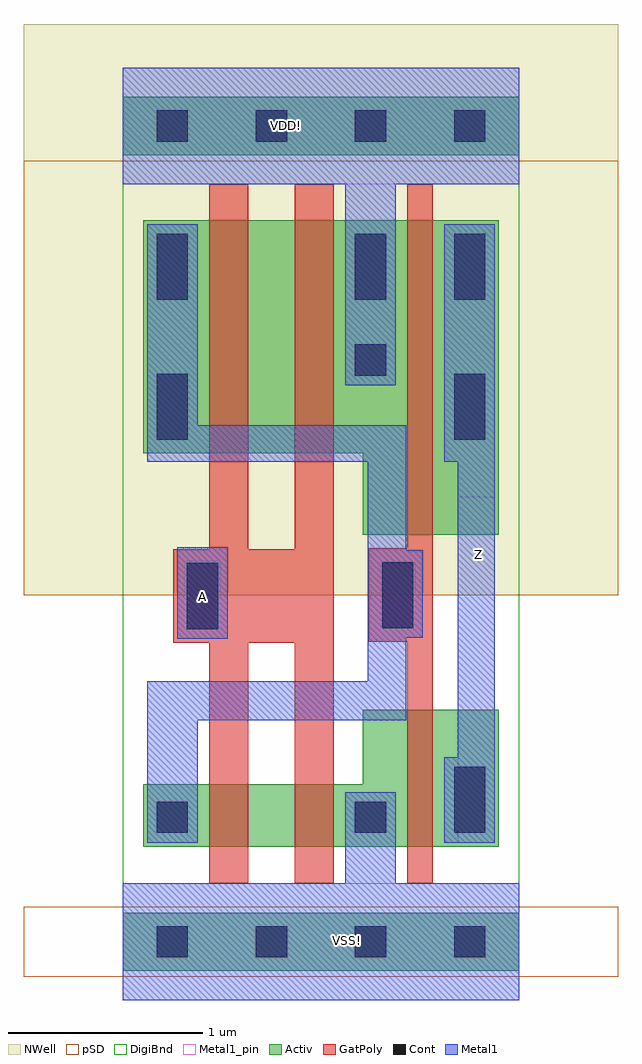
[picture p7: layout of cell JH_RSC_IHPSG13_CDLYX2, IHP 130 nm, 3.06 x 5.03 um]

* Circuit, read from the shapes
.subckt JH_RSC_IHPSG13_CDLYX2 A VDD! VSS! Z
XM1 n1 A n2 VSS! sg13_lv_nmos w=0.32u l=0.2u
XM2 VSS! A n1 VSS! sg13_lv_nmos w=0.32u l=0.2u
XM3 Z n2 VSS! VSS! sg13_lv_nmos w=0.705u l=0.13u
XM4 n3 A n2 VDD! sg13_lv_pmos w=1.2u l=0.2u
XM5 VDD! A n3 VDD! sg13_lv_pmos w=1.2u l=0.2u
XM6 Z n2 VDD! VDD! sg13_lv_pmos w=1.62u l=0.13u
.ends

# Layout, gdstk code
import gdstk
lib = gdstk.Library(unit=1e-6, precision=1e-09)
def R(c, l, rs):  # rectangles x0, y0, x1, y1
    for r in rs: c.add(gdstk.rectangle(r[:2], r[2:], *l))
def A(c, l, x, y, w, h, nx, ny, dx, dy):  # array of equal rectangles
    R(c, l, [(x+i*dx, y+j*dy, x+i*dx+w, y+j*dy+h) for i in range(nx) for j in range(ny)])
def P(c, l, *ps):  # polygons
    for p in ps: c.add(gdstk.Polygon(p, *l))
Activ = (1, 0)
GatPoly = (5, 0)
Cont = (6, 0)
Metal1 = (8, 0)
Metal1_pin = (8, 2)
pSD = (14, 0)
DigiBnd = (16, 0)
NWell = (31, 0)

jh_rsc_ihpsg13_cdlyx2 = lib.new_cell('JH_RSC_IHPSG13_CDLYX2')
R(jh_rsc_ihpsg13_cdlyx2, Activ, [(0,-0.15,2.04,0.15), (0,4.05,2.04,4.35)])
P(jh_rsc_ihpsg13_cdlyx2, Activ, [(0.105,0.49),(0.105,0.81),(1.235,0.81),(1.235,1.195),(1.935,1.195),(1.935,0.49)],
  [(1.235,2.095),(1.235,2.515),(0.105,2.515),(0.105,3.715),(1.935,3.715),(1.935,2.095)])
P(jh_rsc_ihpsg13_cdlyx2, GatPoly, [(0.445,0.3),(0.445,1.54),(0.26,1.54),(0.26,2.02),(0.445,2.02),(0.445,3.9),(0.645,3.9),(0.645,2.02),(0.885,2.02),(0.885,3.9),(1.085,3.9),(1.085,0.3),(0.885,0.3),(0.885,1.54),(0.645,1.54),(0.645,0.3)],
  [(1.465,0.3),(1.465,1.545),(1.265,1.545),(1.265,2.025),(1.465,2.025),(1.465,3.9),(1.595,3.9),(1.595,0.3)])
A(jh_rsc_ihpsg13_cdlyx2, Cont, 0.175, -0.08, 0.16, 0.16, 4, 2, 0.51, 4.2)
R(jh_rsc_ihpsg13_cdlyx2, Cont, [(0.175,0.56,0.335,0.72), (1.195,0.56,1.355,0.72), (1.705,0.56,1.865,0.9), (0.33,1.61,0.49,1.95), (1.335,1.615,1.495,1.955), (0.175,2.585,0.335,2.925), (1.705,2.585,1.865,2.925), (1.195,2.915,1.355,3.075), (0.175,3.305,0.335,3.645), (1.195,3.305,1.355,3.645), (1.705,3.305,1.865,3.645)])
R(jh_rsc_ihpsg13_cdlyx2, Metal1, [(0,-0.3,2.04,0.3), (1.145,0.3,1.405,0.77), (0.28,1.56,0.54,2.03), (1.145,2.865,1.405,3.9), (0,3.9,2.04,4.5)])
P(jh_rsc_ihpsg13_cdlyx2, Metal1, [(0.125,0.51),(0.125,1.34),(1.26,1.34),(1.26,2.47),(0.125,2.47),(0.125,3.695),(0.385,3.695),(0.385,2.66),(1.46,2.66),(1.46,2.015),(1.545,2.015),(1.545,1.565),(1.46,1.565),(1.46,1.14),(0.385,1.14),(0.385,0.51)],
  [(1.655,0.51),(1.655,0.95),(1.725,0.95),(1.725,2.47),(1.655,2.47),(1.655,3.695),(1.915,3.695),(1.915,0.51)])
R(jh_rsc_ihpsg13_cdlyx2, Metal1_pin, [(0,-0.3,2.04,0.3), (1.725,0.51,1.915,2.29), (0.28,1.56,0.54,2.03), (0,3.9,2.04,4.5)])
R(jh_rsc_ihpsg13_cdlyx2, pSD, [(-0.51,-0.18,2.55,0.18), (-0.51,1.785,2.55,4.02)])
R(jh_rsc_ihpsg13_cdlyx2, DigiBnd, [(0,-0.3,2.04,4.5)])
R(jh_rsc_ihpsg13_cdlyx2, NWell, [(-0.51,1.785,2.55,4.725)])
jh_rsc_ihpsg13_cdlyx2.add(gdstk.Label('A', (0.41,1.78), layer=8, texttype=2))
jh_rsc_ihpsg13_cdlyx2.add(gdstk.Label('Z', (1.83,1.995), layer=8, texttype=2))
jh_rsc_ihpsg13_cdlyx2.add(gdstk.Label('VDD!', (0.84,4.2), layer=8, texttype=2))
jh_rsc_ihpsg13_cdlyx2.add(gdstk.Label('VSS!', (1.155,0.005), layer=8, texttype=2))

lib.write_gds('JH_RSC_IHPSG13_CDLYX2.gds')
